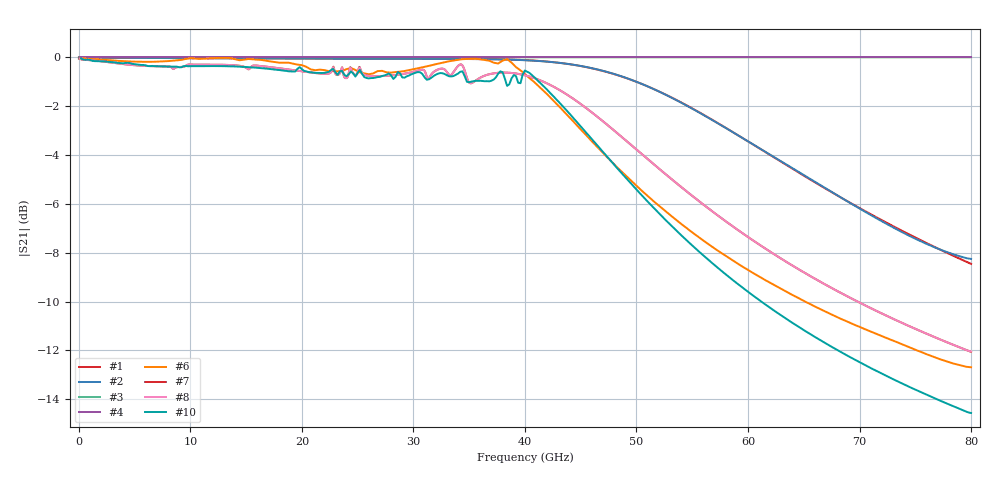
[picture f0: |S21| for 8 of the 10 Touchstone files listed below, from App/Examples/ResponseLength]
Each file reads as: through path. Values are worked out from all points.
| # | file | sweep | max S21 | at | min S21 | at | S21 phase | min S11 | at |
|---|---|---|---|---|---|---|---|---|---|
| 1 | BulkHead.s2p | 10 MHz to 80 GHz | 0.00 dB | 10 MHz | -8.5 dB | 80 GHz | -71 deg at 40.01 GHz | -75.5 dB | 5.86 GHz |
| 2 | BulkHeadRes.s2p | 400 MHz to 80 GHz | 0.00 dB | 400 MHz | -8.3 dB | 80 GHz | -79 deg at 40.4 GHz | -66.6 dB | 6 GHz |
| 3 | Launch.s2p | 10 MHz to 80 GHz | 0.00 dB | 10 MHz | 0.0 dB | 10 MHz | 0 deg at 40.01 GHz | -76.4 dB | 2.12 GHz |
| 4 | LaunchRes.s2p | 100 MHz to 80 GHz | 0.00 dB | 100 MHz | 0.0 dB | 100 MHz | 0 deg at 40.1 GHz | -70.9 dB | 4.5 GHz |
| 5 | RadiallRelayClosed.s2p | 10 MHz to 80 GHz | -0.01 dB | 10 MHz | -12.8 dB | 80 GHz | 119 deg at 40.01 GHz | -58.8 dB | 10 MHz |
| 6 | RadiallRelayClosedRes.s2p | 400 MHz to 80 GHz | -0.02 dB | 13.2 GHz | -12.7 dB | 80 GHz | 103 deg at 40.4 GHz | -47.0 dB | 400 MHz |
| 7 | SemiRigidCable1.s2p | 10 MHz to 80 GHz | -0.06 dB | 90 MHz | -12.1 dB | 80 GHz | 89 deg at 40.01 GHz | -70.5 dB | 26.54 GHz |
| 8 | SemiRigidCable1Res.s2p | 100 MHz to 80 GHz | -0.06 dB | 100 MHz | -12.0 dB | 80 GHz | 71 deg at 40.1 GHz | -69.4 dB | 39.2 GHz |
| 9 | SemiRigidCable2.s2p | 10 MHz to 80 GHz | -0.04 dB | 140 MHz | -14.6 dB | 80 GHz | 108 deg at 40.01 GHz | -73.9 dB | 4.65 GHz |
| 10 | SemiRigidCable2Res.s2p | 200 MHz to 80 GHz | -0.05 dB | 200 MHz | -14.6 dB | 80 GHz | 68 deg at 40.2 GHz | -61.8 dB | 59 GHz |
